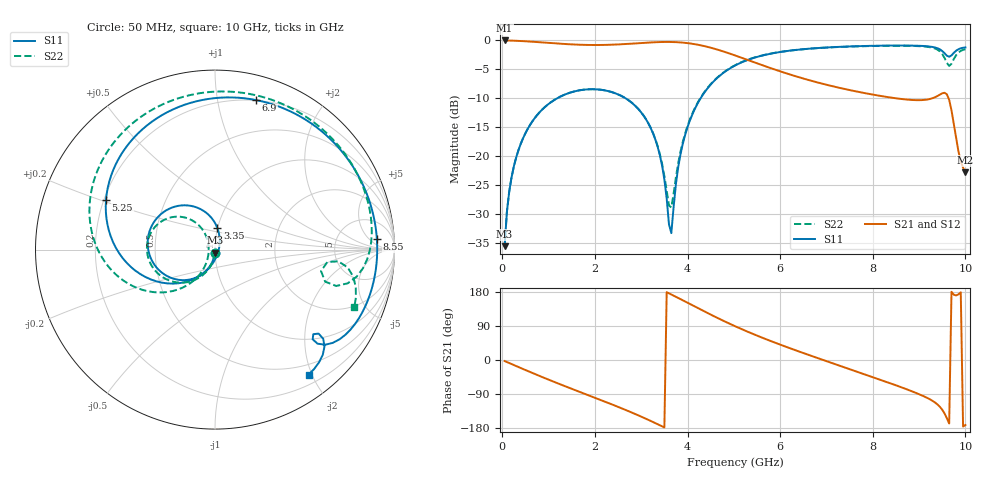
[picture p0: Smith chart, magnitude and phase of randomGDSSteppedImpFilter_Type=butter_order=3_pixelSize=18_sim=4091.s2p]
! freq	dB(S11)	phase(S11)	dB(S12)	phase(S12)
!  dB(S21)	phase(S21)	dB(S22)	phase(S22)
!S-par simulation data
#  GHz  S  DB  R 50
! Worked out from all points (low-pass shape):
!   200 points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, 50 MHz to 10 GHz, reference 50 ohm
!   highest |S21| = -0.01 dB at 50 MHz (marker M1); lowest = -22.8 dB at 10 GHz (marker M2)
!   |S21| within 3 dB of the highest: start of sweep to 5.173 GHz
!   lowest |S11| = -35.5 dB at 50 MHz (marker M3), VSWR 1.03, Z = 49.9 - j1.67 ohm
!   |S11| at or under -10 dB: start of sweep to 1.183 GHz; 2.662 GHz to 4.282 GHz (1.62 GHz wide, 46.7 % of centre)
!   |S22| runs from -35.5 to -0.9 dB; largest |S21 - S12| = 0
!   S11 on the Smith chart (normalised r, x): 50 MHz: 1.00, -0.03; 3.35 GHz: 1.00, +0.25; 5.25 GHz: 0.21, +0.21; 6.9 GHz: 0.20, +1.29; 8.55 GHz: 14, +9; 10 GHz: 0.34, -1.95
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0.05  -35.53 -92.7  -0.01 -2.7  -0.01 -2.7  -35.52 -92.4
0.2  -23.63 -101.6  -0.03 -10.7  -0.03 -10.7  -23.63 -100.6
0.5  -16.01 -118.3  -0.14 -26.5  -0.14 -26.5  -16.01 -115.8
1.75  -8.52 176.8  -0.76 -87.9  -0.76 -87.9  -8.51 -173.7
2.75  -10.47 124.4  -0.58 -136.3  -0.58 -136.3  -10.47 142.9
3.35  -18.24 84.1  -0.29 -169.1  -0.29 -169.1  -18.12 121.8
3.4  -19.73 79.2  -0.28 -172.0  -0.28 -172.0  -19.54 122.1
3.65  -33.28 -34.6  -0.27 172.9  -0.27 172.9  -28.84 -166.6
3.8  -21.83 -100.6  -0.32 163.6  -0.32 163.6  -21.14 -123.4
4.05  -13.84 -125.9  -0.51 147.9  -0.51 147.9  -13.66 -124.3
4.55  -7.19 -161.7  -1.36 116.8  -1.36 116.8  -7.12 -148.3
5.05  -4.23 167.0  -2.66 87.9  -2.66 87.9  -4.19 -173.7
5.25  -3.52 155.5  -3.23 77.2  -3.23 77.2  -3.48 176.7
6  -2.00 116.4  -5.34 40.6  -5.34 40.6  -1.98 143.7
6.7  -1.38 83.6  -7.03 9.8  -7.03 9.8  -1.39 115.4
6.9  -1.27 74.6  -7.45 1.2  -7.45 1.2  -1.28 107.5
8.35  -0.89 12.2  -9.82 -60.1  -9.82 -60.1  -0.93 48.1
8.55  -0.88 3.7  -10.04 -69.0  -10.04 -69.0  -0.92 39.1
9.25  -1.08 -28.0  -10.08 -104.9  -10.08 -104.9  -1.19 2.9
9.6  -2.63 -42.6  -9.31 -153.7  -9.31 -153.7  -3.89 -16.2
9.75  -2.15 -39.5  -14.47 172.3  -14.47 172.3  -3.21 -5.4
10  -1.21 -53.2  -22.78 -171.6  -22.78 -171.6  -1.51 -22.5
